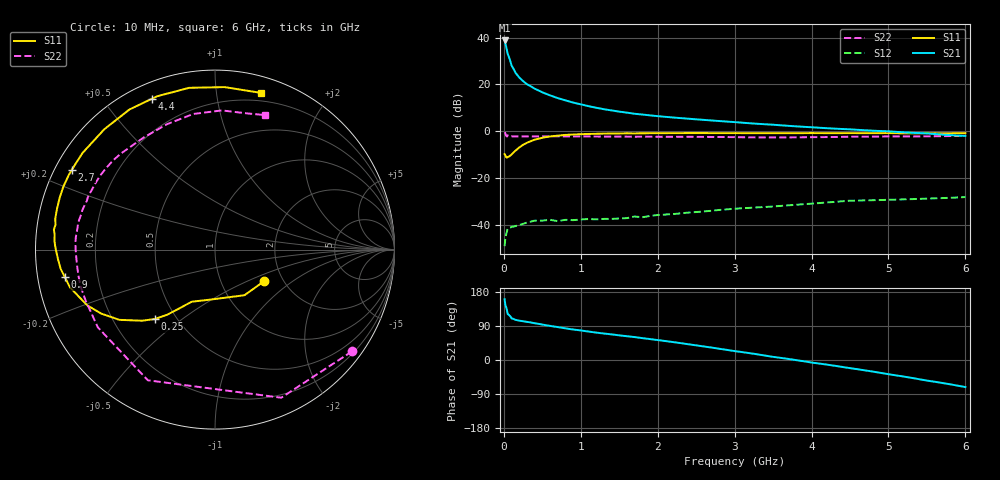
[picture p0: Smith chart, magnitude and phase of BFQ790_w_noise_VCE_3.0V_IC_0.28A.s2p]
! Infineon Technologies  Discrete & RF Semiconductors
! BFQ790
! VCE =  3.0 V,  IC = 0.28 A
! Common Emitter S-Parameters:  May 2015
# GHz  S  MA  R  50
!  f  S11  S21  S12  S22
! GHz  MAG  ANG  MAG  ANG  MAG  ANG  MAG  ANG
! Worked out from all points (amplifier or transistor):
!   77 points, 10 MHz to 6 GHz, reference 50 ohm
!   highest |S21| = 38.8 dB at 10 MHz (marker M1)
!   |S21| within 3 dB of that: start of sweep to 32.24 MHz
!   unconditionally stable (mu >= 1): 193.5 MHz to end of sweep
!   at 130 MHz: K = 0.79, MSG = 33.6 dB, |S12| = -40.7 dB
!   at 2.2 GHz: K = 1.32, MAG = 17.3 dB, |S12| = -35.4 dB
!   at 6 GHz: K = 1.09, MAG = 11.3 dB, |S12| = -28.1 dB
!   lowest NFmin = 3.93 dB at 1.5 GHz
!   S11 on the Smith chart (normalised r, x): 10 MHz: 1.60, -0.63; 250 MHz: 0.38, -0.40; 900 MHz: 0.08, -0.09; 2.7 GHz: 0.05, +0.26; 4.4 GHz: 0.07, +0.66; 6 GHz: 0.13, +1.32
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0.01  0.325 -33.0  87.22 160.4  0.0035 67.2  0.951 -36.6
0.02  0.3025 -57.2  75.14 144.8  0.0053 57.4  0.904 -65.9
0.05  0.2799 -95.4  45.17 121.3  0.0084 30.9  0.8186 -117.2
0.1  0.3181 -114.1  25.49 109.9  0.009 17.8  0.7834 -146.4
0.15  0.383 -121.2  17.95 106.0  0.0094 18.2  0.7748 -158.5
0.2  0.4503 -126.3  14.12 103.9  0.0099 23.8  0.7769 -164.8
0.25  0.5128 -131.0  11.79 102.3  0.0105 19.6  0.7744 -169.0
0.3  0.5673 -135.7  10.16 100.7  0.0112 11.9  0.7737 -172.2
0.4  0.6611 -143.7  8.129 97.0  0.0123 13.5  0.7743 -176.8
0.5  0.7261 -150.5  6.793 93.5  0.0123 12.0  0.7766 179.8
0.6  0.7756 -156.3  5.856 90.1  0.0128 13.8  0.7788 177.1
0.7  0.8056 -161.4  5.117 86.8  0.012 12.9  0.7784 174.7
0.9  0.8508 -169.7  4.106 80.5  0.0126 10.4  0.7757 171.1
1.1  0.8752 -176.1  3.442 75.1  0.0133 13.5  0.7748 167.6
1.5  0.8971 174.7  2.628 65.1  0.0137 16.2  0.7684 161.9
2.1  0.9101 163.5  2.034 50.0  0.0166 16.4  0.7622 153.0
2.7  0.9128 150.8  1.7 32.8  0.02 12.4  0.7557 141.2
3.1  0.9102 141.6  1.524 20.8  0.0226 7.4  0.7449 132.1
4.1  0.9118 119.3  1.189 -9.4  0.0292 -7.5  0.749 108.5
4.4  0.9109 112.8  1.117 -18.3  0.0319 -13.0  0.7593 101.4
5.1  0.9082 96.6  0.971 -40.6  0.0346 -27.9  0.775 85.2
6  0.9097 73.8  0.796 -71.5  0.0392 -49.1  0.7993 69.7
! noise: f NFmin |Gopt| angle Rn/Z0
0.45  6.54  0.52  144  0.63
0.9  4.59  0.65  170  0.19
1.5  3.93  0.74  -171  0.11
1.8  3.97  0.75  -166  0.13
2.6  4.12  0.77  -151  0.34
3.5  4.55  0.85  -134  0.75
